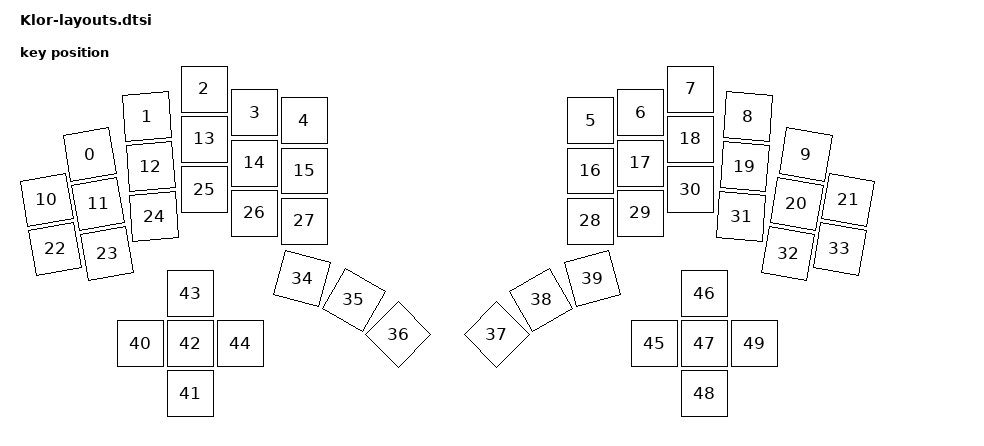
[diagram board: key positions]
#include <physical_layouts.dtsi>

/ {
    physical_layout: physical_layout_0 {
        compatible = "zmk,physical-layout";
        display-name = "Klor";

        // kscan = <&kscan0>;
        // transform = <&matrix_transform0>;

        studio-config {
        compatible = "zmk,studio-config";
        };

        keys  //                     w   h    x    y     rot    rx    ry
            = <&key_physical_attrs 100 100   86  131 (-1000)   136   181>
            , <&key_physical_attrs 100 100  201   55  (-400)   251   105>
            , <&key_physical_attrs 100 100  315    0       0   315     0>
            , <&key_physical_attrs 100 100  416   47       0   416    47>
            , <&key_physical_attrs 100 100  515   63       0   515    63>
            , <&key_physical_attrs 100 100 1088   63       0  1088    63>
            , <&key_physical_attrs 100 100 1188   47       0  1188    47>
            , <&key_physical_attrs 100 100 1288    0       0  1288     0>
            , <&key_physical_attrs 100 100 1403   55     400  1453   105>
            , <&key_physical_attrs 100 100 1518  131    1000  1568   181>
            , <&key_physical_attrs 100 100    0  222 (-1000)    50   272>
            , <&key_physical_attrs 100 100  103  230 (-1000)   153   280>
            , <&key_physical_attrs 100 100  208  155  (-400)   258   205>
            , <&key_physical_attrs 100 100  315  100       0   315   100>
            , <&key_physical_attrs 100 100  416  148       0   416   148>
            , <&key_physical_attrs 100 100  515  164       0   515   164>
            , <&key_physical_attrs 100 100 1088  164       0  1088   164>
            , <&key_physical_attrs 100 100 1188  148       0  1188   148>
            , <&key_physical_attrs 100 100 1288  100       0  1288   100>
            , <&key_physical_attrs 100 100 1396  155     400  1446   205>
            , <&key_physical_attrs 100 100 1500  230    1000  1550   280>
            , <&key_physical_attrs 100 100 1603  222    1000  1653   272>
            , <&key_physical_attrs 100 100   17  320 (-1000)    67   370>
            , <&key_physical_attrs 100 100  121  329 (-1000)   171   379>
            , <&key_physical_attrs 100 100  215  255  (-400)   265   305>
            , <&key_physical_attrs 100 100  315  201       0   315   201>
            , <&key_physical_attrs 100 100  416  248       0   416   248>
            , <&key_physical_attrs 100 100  515  264       0   515   264>
            , <&key_physical_attrs 100 100 1088  264       0  1088   264>
            , <&key_physical_attrs 100 100 1188  248       0  1188   248>
            , <&key_physical_attrs 100 100 1288  201       0  1288   201>
            , <&key_physical_attrs 100 100 1389  255     400  1439   305>
            , <&key_physical_attrs 100 100 1483  329    1000  1533   379>
            , <&key_physical_attrs 100 100 1586  320    1000  1636   370>
            , <&key_physical_attrs 100 100  511  379    1500   561   429>
            , <&key_physical_attrs 100 100  614  422    3000   664   472>
            , <&key_physical_attrs 100 100  703  491 (-4500)   753   541>
            , <&key_physical_attrs 100 100  900  491    4500   950   541>
            , <&key_physical_attrs 100 100  989  422 (-3000)  1039   472>
            , <&key_physical_attrs 100 100 1092  379 (-1500)  1142   429>
            , <&key_physical_attrs 100 100  188  509       0   188   509>
            , <&key_physical_attrs 100 100  288  609       0   288   609>
            , <&key_physical_attrs 100 100  288  509       0   288   509>
            , <&key_physical_attrs 100 100  288  409       0   288   409>
            , <&key_physical_attrs 100 100  388  509       0   388   509>
            , <&key_physical_attrs 100 100 1216  509       0  1216   509>
            , <&key_physical_attrs 100 100 1316  409       0  1316   409>
            , <&key_physical_attrs 100 100 1316  509       0  1316   509>
            , <&key_physical_attrs 100 100 1316  609       0  1316   609>
            , <&key_physical_attrs 100 100 1416  509       0  1416   509>
            ;
    };
};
